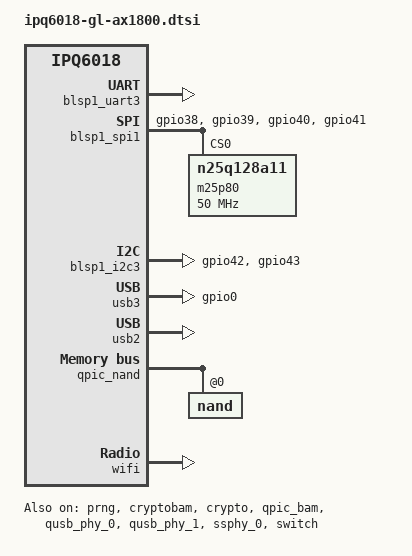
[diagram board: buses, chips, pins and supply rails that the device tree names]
/*
 * Copyright (c) 2019, The Linux Foundation. All rights reserved.
 *
 * Permission to use, copy, modify, and/or distribute this software for any
 * purpose with or without fee is hereby granted, provided that the above
 * copyright notice and this permission notice appear in all copies.
 *
 * THE SOFTWARE IS PROVIDED "AS IS" AND THE AUTHOR DISCLAIMS ALL WARRANTIES
 * WITH REGARD TO THIS SOFTWARE INCLUDING ALL IMPLIED WARRANTIES OF
 * MERCHANTABILITY AND FITNESS. IN NO EVENT SHALL THE AUTHOR BE LIABLE FOR
 * ANY SPECIAL, DIRECT, INDIRECT, OR CONSEQUENTIAL DAMAGES OR ANY DAMAGES
 * WHATSOEVER RESULTING FROM LOSS OF USE, DATA OR PROFITS, WHETHER IN AN
 * ACTION OF CONTRACT, NEGLIGENCE OR OTHER TORTIOUS ACTION, ARISING OUT OF
 * OR IN CONNECTION WITH THE USE OR PERFORMANCE OF THIS SOFTWARE.
 */

#include "ipq6018.dtsi"
#include "ipq6018-ess.dtsi"
#include "ipq6018-512m.dtsi"
#include "ipq6018-nss.dtsi"


#include <dt-bindings/input/input.h>
#include <dt-bindings/gpio/gpio.h>
#include <dt-bindings/leds/common.h>

/ {

	/delete-node/ rpm-glink;

	chosen {
		stdout-path = "serial0:115200n8";
		bootargs-append = " root=/dev/ubiblock0_1";
	};



};

&tlmm {
	gpio-reserved-ranges = <20 1>;

	spi_1_pins: spi_1_pins {
		mux {
			pins = "gpio38", "gpio39", "gpio40", "gpio41";
			function = "blsp0_spi";
			drive-strength = <8>;
			bias-pull-down;
		};
	};

	button_pins: button_pins {
		switch_button {
			pins = "gpio9";
			function = "gpio";
			drive-strength = <8>;
			bias-pull-up;
		};
		reset_button {
			pins = "gpio18";
			function = "gpio";
			drive-strength = <8>;
			bias-pull-up;
		};
	};

	usb_power_pins: usb_power_pins {
		mux {
			pins = "gpio0";
			function = "gpio";
			bias-pull-up;
			output-high;
		};
	};

	leds_pins: leds_pins {
		white {
			pins = "gpio35";
			function = "gpio";
			drive-strength = <8>;
			bias-pull-down;
		};
		blue {
			pins = "gpio37";
			function = "gpio";
			drive-strength = <8>;
			bias-pull-down;
		};
	};

	i2c_1_pins: i2c_1_pins {
		mux {
			pins = "gpio42", "gpio43";
			function = "blsp2_i2c";
			drive-strength = <8>;
			bias-pull-down;
		};
	};
};

&blsp1_uart3 {
	pinctrl-0 = <&serial_3_pins>;
	pinctrl-names = "default";
	status = "okay";
};

&blsp1_spi1 {
	pinctrl-0 = <&spi_1_pins>;
	pinctrl-names = "default";
	cs-select = <0>;
	status = "okay";

	m25p80@0 {
		#address-cells = <1>;
		#size-cells = <1>;
		reg = <0>;
		compatible = "n25q128a11";
		linux,modalias = "m25p80", "n25q128a11";
		spi-max-frequency = <50000000>;
		use-default-sizes;
	};
};

&blsp1_i2c3 {
	pinctrl-0 = <&i2c_1_pins>;
	pinctrl-names = "default";
	status = "okay";
};

&prng {
	status = "okay";
};

&cryptobam {
	status = "okay";
};

&crypto {
	status = "okay";
};

&qpic_bam {
	status = "okay";
};

&qusb_phy_0 {
	status = "okay";
};

&qusb_phy_1 {
	status = "okay";
};


&ssphy_0 {
	status = "okay";
};

&usb3 {
	pinctrl-0 = <&usb_power_pins>;
	pinctrl-names = "default";
	status = "okay";
};

&usb2 {
	status = "okay";
};

&edma {
	status = "okay";
};


&switch {
	status = "okay";

	switch_cpu_bmp = <0x1>;  /* cpu port bitmap */
	switch_lan_bmp = <0x0c>; /* lan port bitmap */
	switch_wan_bmp = <0x02>; /* wan port bitmap */
	switch_mac_mode = <0x0>; /* mac mode for uniphy instance0*/
	switch_mac_mode1 = <0xff>; /* mac mode for uniphy instance1*/
	switch_mac_mode2 = <0xff>; /* mac mode for uniphy instance2*/
	qcom,port_phyinfo {
		port@0 {
			port_id = <1>;
			phy_address = <0>;
		};
		port@1 {
			port_id = <2>;
			phy_address = <1>;
		};
		port@2 {
			port_id = <3>;
			phy_address = <2>;
		};
	};
};


&qpic_bam {
	status = "okay";
};

&qpic_nand {
	status = "okay";

	nand@0 {
		reg = <0>;

		nand-ecc-strength = <4>;
		nand-ecc-step-size = <512>;
		nand-bus-width = <8>;

        partitions {
			compatible = "qcom,smem-part";
		};
	};
};


&wifi {
	status = "okay";

	qcom,ath11k-fw-memory-mode = <1>;
 };


&CPU0 {
	/delete-property/ cpu-supply;
};

&CPU1 {
	/delete-property/ cpu-supply;
};

&CPU2 {
	/delete-property/ cpu-supply;
};

&CPU3 {
	/delete-property/ cpu-supply;
};
